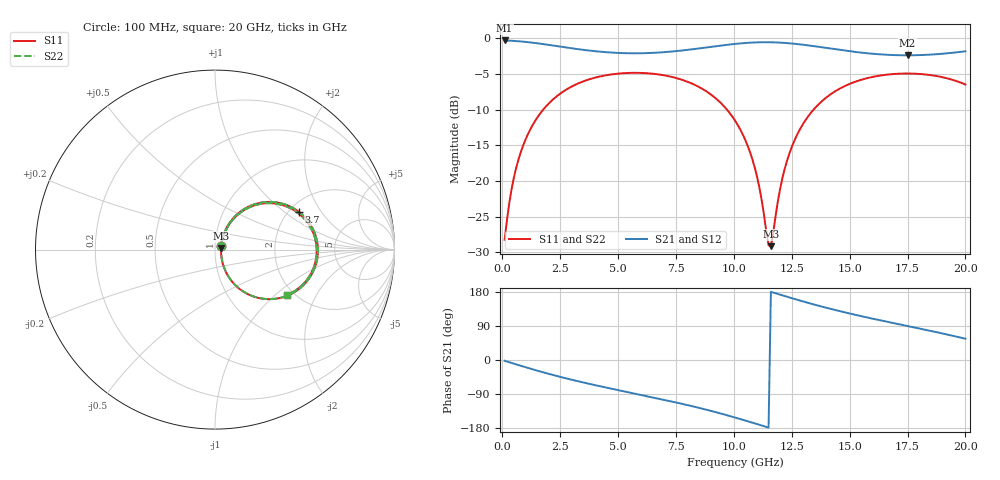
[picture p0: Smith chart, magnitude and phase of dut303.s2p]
! Touchstone file exported from HFSS 2026.1.0
!  File:  C:/ffzhzh/LocalFiles/Ansys_Project_Files/temp_train_TSV_RDL_303_1783027941_55676.aedt
!  Generated:  05:49:01 AM Jul  3, 2026
!  Design:  TSV_RDL
!  Project:  temp_train_TSV_RDL_303_1783027941_55676
! Variables:
!  h_bsmrdl = 3.27um
!  h_ox = 20um
!  h_rdl = 5um
!  h_sub = 53.01um
!  h_tmrdl = 5.79um
!  h_tsv = 53.01um
!  h_via = 3um
!  l_bsmrdl = 770.26um
!  l_sub = 5339.49um
!  l_tmrdl = 637.64um
!  m_sub = 200um
!  pitch = 40.61um
!  r_tsv = 13.24um
!  s_tmrdl = 10um
!  w_bsmrdl = 11.19um
!  w_sub = 500um
!  w_tmrdl = 14.86um
!  x_tsv_center1 = 645.07um
!  x_tsv_center2 = 1426.52um
!  x_tsv_center3 = 2079.02um
!  x_tsv_center4 = 2860.47um
!  x_tsv_center5 = 3512.97um
!  x_tsv_center6 = 4294.42um
# GHz S MA R 50.000000
! Terminal data exported
! Port[1] = TM_RDL1_1_T1
! Port[2] = TM_RDL5_1_T1
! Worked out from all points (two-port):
!   200 points, 100 MHz to 20 GHz, reference 50 ohm
!   highest |S21| = -0.29 dB at 100 MHz (marker M1); lowest = -2.4 dB at 17.5 GHz (marker M2)
!   |S21| within 3 dB of the highest: start of sweep to end of sweep
!   lowest |S11| = -29.2 dB at 11.6 GHz (marker M3), VSWR 1.07, Z = 53.5 + j0.732 ohm
!   |S11| at or under -10 dB: start of sweep to 1.767 GHz; 9.703 GHz to 13.44 GHz (3.739 GHz wide, 32.3 % of centre)
!   |S22| runs from -28.9 to -4.8 dB; largest |S21 - S12| = 1.7e-14
!   S11 on the Smith chart (normalised r, x): 100 MHz: 1.07, +0.04; 3.7 GHz: 2.25, +1.28; 20 GHz: 1.84, -1.20
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0.1  0.03866 30.4  0.9671 -2.0  0.9671 -2.0  0.03866 30.4
! Gamma 0 0 0 0
! Port Impedance 50 0 50 0
0.5  0.1054 60.9  0.9601 -9.7  0.9601 -9.7  0.1054 60.9
1.2  0.2283 58.2  0.9374 -22.6  0.9374 -22.6  0.2283 58.2
2.2  0.3743 44.7  0.8907 -39.7  0.8907 -39.7  0.3743 44.7
3.5  0.4995 26.8  0.8309 -59.4  0.8309 -59.4  0.4995 26.8
3.7  0.5127 24.2  0.8234 -62.2  0.8234 -62.2  0.5127 24.2
5.3  0.5709 4.2  0.7876 -83.3  0.7876 -83.3  0.5709 4.3
6.8  0.5571 -14.0  0.7965 -102.5  0.7965 -102.5  0.557 -13.9
8.6  0.4463 -37.4  0.8548 -127.9  0.8548 -127.9  0.4463 -37.3
10.1  0.2574 -58.1  0.9164 -152.6  0.9164 -152.6  0.2575 -57.9
10.9  0.1247 -63.9  0.9365 -167.2  0.9365 -167.2  0.1248 -63.5
11.2  0.07379 -57.7  0.9396 -172.7  0.9396 -172.7  0.07411 -57.1
11.5  0.03539 -17.4  0.9398 -178.3  0.9398 -178.3  0.03624 -16.8
11.6  0.03485 11.3  0.9393 179.8  0.9393 179.8  0.03576 11.1
12  0.0882 57.9  0.9339 172.3  0.9339 172.3  0.08865 57.4
12.3  0.1391 61.1  0.9269 166.8  0.9269 166.8  0.1394 60.7
12.8  0.2215 57.7  0.9103 157.8  0.9103 157.8  0.2218 57.5
13.4  0.3106 50.3  0.8847 147.5  0.8847 147.5  0.3107 50.1
14.8  0.4636 31.4  0.8207 125.6  0.8207 125.6  0.4637 31.3
16.7  0.5588 7.8  0.7663 99.9  0.7663 99.9  0.5588 7.8
17.5  0.567 -1.7  0.7609 89.7  0.7609 89.7  0.5671 -1.7
20  0.4745 -32.1  0.8117 56.1  0.8117 56.1  0.4745 -32.0
